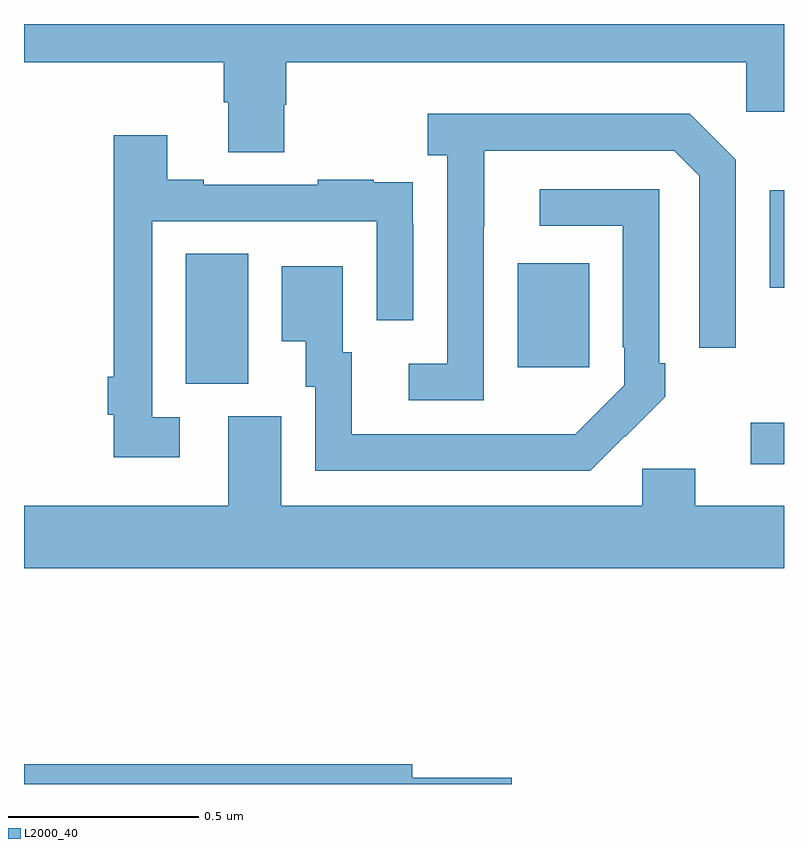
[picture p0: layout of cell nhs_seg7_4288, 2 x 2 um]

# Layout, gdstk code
import gdstk
lib = gdstk.Library(unit=1e-6, precision=1e-09)
def R(c, l, rs):  # rectangles x0, y0, x1, y1
    for r in rs: c.add(gdstk.rectangle(r[:2], r[2:], *l))
def P(c, l, *ps):  # polygons
    for p in ps: c.add(gdstk.Polygon(p, *l))
L2000_40 = (2000, 40)

nhs_seg7_4288 = lib.new_cell('nhs_seg7_4288')
R(nhs_seg7_4288, L2000_40, [(171.912,1048.842,172,1048.951), (170.426,1049.053,170.59,1049.396), (171.299,1049.097,171.487,1049.371), (171.962,1049.306,172,1049.563)])
P(nhs_seg7_4288, L2000_40, [(170,1049.9),(170.525,1049.9),(170.525,1049.794),(170.537,1049.794),(170.537,1049.662),(170.685,1049.662),(170.685,1049.787),(170.69,1049.787),(170.69,1049.9),(171.9,1049.9),(171.9,1049.769),(172,1049.769),(172,1050),(170,1050)],
  [(171.21,1049.467),(171.211,1049.467),(171.211,1049.667),(171.711,1049.667),(171.777,1049.601),(171.777,1049.148),(171.873,1049.148),(171.873,1049.643),(171.752,1049.764),(171.063,1049.764),(171.063,1049.654),(171.114,1049.654),(171.114,1049.106),(171.012,1049.106),(171.012,1049.01),(171.21,1049.01)],
  [(170.41,1048.965),(170.337,1048.965),(170.337,1049.481),(170.928,1049.481),(170.928,1049.22),(171.024,1049.22),(171.024,1049.474),(171.023,1049.474),(171.023,1049.583),(170.921,1049.583),(170.921,1049.59),(170.773,1049.59),(170.773,1049.577),(170.473,1049.577),(170.473,1049.59),(170.377,1049.59),(170.377,1049.707),(170.236,1049.707),(170.236,1049.072),(170.221,1049.072),(170.221,1048.972),(170.236,1048.972),(170.236,1048.86),(170.41,1048.86)],
  [(171.581,1048.915),(171.582,1048.914),(171.687,1049.019),(171.687,1049.107),(171.672,1049.107),(171.672,1049.565),(171.357,1049.565),(171.357,1049.469),(171.576,1049.469),(171.576,1049.149),(171.579,1049.149),(171.579,1049.049),(171.451,1048.921),(171.347,1048.921),(171.347,1048.92),(170.863,1048.92),(170.863,1049.136),(170.839,1049.136),(170.839,1049.362),(170.678,1049.362),(170.678,1049.165),(170.741,1049.165),(170.741,1049.046),(170.766,1049.046),(170.766,1048.824),(171.49,1048.824)],
  [(172,1048.732),(171.766,1048.732),(171.766,1048.83),(171.627,1048.83),(171.627,1048.732),(170.677,1048.732),(170.677,1048.968),(170.537,1048.968),(170.537,1048.732),(170,1048.732),(170,1048.568),(172,1048.568)],
  [(171.283,1048.016),(171.022,1048.016),(171.022,1048.052),(170,1048.052),(170,1048),(171.283,1048)])

lib.write_gds('nhs_seg7_4288.gds')
